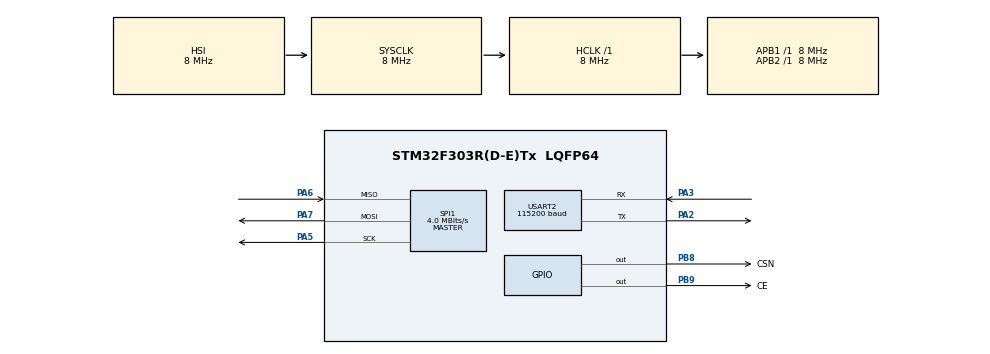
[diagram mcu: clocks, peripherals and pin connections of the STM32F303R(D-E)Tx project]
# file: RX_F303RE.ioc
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Mcu.Family=STM32F3
Mcu.Name=STM32F303R(D-E)Tx
Mcu.Package=LQFP64
NVIC.PriorityGroup=NVIC_PRIORITYGROUP_4
PA2.Mode=Asynchronous
PA2.Signal=USART2_TX
PA3.Mode=Asynchronous
PA3.Signal=USART2_RX
PA5.Mode=Full_Duplex_Master
PA5.Signal=SPI1_SCK
PA6.Mode=Full_Duplex_Master
PA6.Signal=SPI1_MISO
PA7.Mode=Full_Duplex_Master
PA7.Signal=SPI1_MOSI
PB8.GPIO_Label=CSN
PB8.Signal=GPIO_Output
PB9.GPIO_Label=CE
PB9.Signal=GPIO_Output
PF0-OSC_IN.Mode=HSE-External-Oscillator
PF0-OSC_IN.Signal=RCC_OSC_IN
PF1-OSC_OUT.Mode=HSE-External-Oscillator
PF1-OSC_OUT.Signal=RCC_OSC_OUT
ProjectManager.HeapSize=0x200
ProjectManager.StackSize=0x400
ProjectManager.TargetToolchain=STM32CubeIDE
RCC.AHBFreq_Value=8000000
RCC.APB1Freq_Value=8000000
RCC.APB2Freq_Value=8000000
RCC.CortexFreq_Value=8000000
RCC.HSE_VALUE=8000000
RCC.HSI_VALUE=8000000
RCC.LSE_VALUE=32768
RCC.PLLSourceVirtual=RCC_PLLSOURCE_HSE
RCC.SYSCLKFreq_VALUE=8000000
RCC.USBFreq_Value=16000000
SPI1.CalculateBaudRate=4.0 MBits/s
SPI1.DataSize=SPI_DATASIZE_8BIT
SPI1.Direction=SPI_DIRECTION_2LINES
SPI1.Mode=SPI_MODE_MASTER
SPI1.VirtualType=VM_MASTER
USART2.BaudRate=115200
USART2.VirtualMode-Asynchronous=VM_ASYNC
board=custom

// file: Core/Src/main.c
/* USER CODE BEGIN Header */
/**
  ******************************************************************************
  * @file           : main.c
  * @brief          : Main program body
  ******************************************************************************
  * @attention
  *
  * Copyright (c) 2023 STMicroelectronics.
  * All rights reserved.
  *
  * This software is licensed under terms that can be found in the LICENSE file
  * in the root directory of this software component.
  * If no LICENSE file comes with this software, it is provided AS-IS.
  *
  ******************************************************************************
  */
/* USER CODE END Header */
#include "main.h"

/* USER CODE BEGIN Includes */
#include "MY_NRF24.h"
/* USER CODE END Includes */

SPI_HandleTypeDef hspi1;

UART_HandleTypeDef huart2;

void SystemClock_Config(void);
static void MX_GPIO_Init(void);
static void MX_SPI1_Init(void);
static void MX_USART2_UART_Init(void);

/* USER CODE BEGIN 0 */
uint64_t RxpipeAddrs = 0x11223344AA;
uint8_t buffer[6];
char myAckPayload[32] = "Ack by STMf3!";
/* USER CODE END 0 */

int main(void)
{

  /* MCU Configuration--------------------------------------------------------*/

  /* Reset of all peripherals, Initializes the Flash interface and the Systick. */
  HAL_Init();

  /* Configure the system clock */
  SystemClock_Config();

  /* Initialize all configured peripherals */
  MX_GPIO_Init();
  MX_SPI1_Init();
  MX_USART2_UART_Init();
  /* USER CODE BEGIN 2 */
  MX_GPIO_Init();
	/* USER CODE BEGIN 2 */
	NRF24_begin(GPIOB, GPIO_PIN_8, GPIO_PIN_9, hspi1);
	nrf24_DebugUART_Init(huart2);

	NRF24_setAutoAck(false);
	NRF24_setChannel(52);
	NRF24_setPayloadSize(6);
	NRF24_openReadingPipe(1, RxpipeAddrs);
	NRF24_enableDynamicPayloads();
	//NRF24_enableAckPayload();
	NRF24_startListening();

	printRadioSettings();
  /* USER CODE END 2 */

  /* Infinite loop */
  /* USER CODE BEGIN WHILE */
  while (1)
  {
	  char myRxData[50] = "";
	  if(NRF24_available())
		{
			NRF24_read(buffer, 6);
			if(buffer[0] == 0xFF && buffer[1] == 0xFF){
				snprintf(myRxData, 32, "Coordinates not found\r\n");
			}
			else{
				snprintf(myRxData, 32, "%u %u %u \r\n", (buffer[0]<<8|buffer[1]), (buffer[2]<<8|buffer[3]), (buffer[4]<<8|buffer[5]));
			}
			//NRF24_writeAckPayload(1, myAckPayload, 32);
			HAL_UART_Transmit(&huart2, (uint8_t *)myRxData, strlen(myRxData), 10);
		}
    /* USER CODE END WHILE */

  }
}

void SystemClock_Config(void)
{
  RCC_OscInitTypeDef RCC_OscInitStruct = {0};
  RCC_ClkInitTypeDef RCC_ClkInitStruct = {0};
  RCC_PeriphCLKInitTypeDef PeriphClkInit = {0};

  /** Initializes the RCC Oscillators according to the specified parameters
  * in the RCC_OscInitTypeDef structure.
  */
  RCC_OscInitStruct.OscillatorType = RCC_OSCILLATORTYPE_HSI;
  RCC_OscInitStruct.HSIState = RCC_HSI_ON;
  RCC_OscInitStruct.HSICalibrationValue = RCC_HSICALIBRATION_DEFAULT;
  RCC_OscInitStruct.PLL.PLLState = RCC_PLL_NONE;
  if (HAL_RCC_OscConfig(&RCC_OscInitStruct) != HAL_OK)
  {
    Error_Handler();
  }

  /** Initializes the CPU, AHB and APB buses clocks
  */
  RCC_ClkInitStruct.ClockType = RCC_CLOCKTYPE_HCLK|RCC_CLOCKTYPE_SYSCLK
                              |RCC_CLOCKTYPE_PCLK1|RCC_CLOCKTYPE_PCLK2;
  RCC_ClkInitStruct.SYSCLKSource = RCC_SYSCLKSOURCE_HSI;
  RCC_ClkInitStruct.AHBCLKDivider = RCC_SYSCLK_DIV1;
  RCC_ClkInitStruct.APB1CLKDivider = RCC_HCLK_DIV1;
  RCC_ClkInitStruct.APB2CLKDivider = RCC_HCLK_DIV1;

  if (HAL_RCC_ClockConfig(&RCC_ClkInitStruct, FLASH_LATENCY_0) != HAL_OK)
  {
    Error_Handler();
  }
  PeriphClkInit.PeriphClockSelection = RCC_PERIPHCLK_USART2;
  PeriphClkInit.Usart2ClockSelection = RCC_USART2CLKSOURCE_PCLK1;
  if (HAL_RCCEx_PeriphCLKConfig(&PeriphClkInit) != HAL_OK)
  {
    Error_Handler();
  }
}

static void MX_SPI1_Init(void)
{

  /* SPI1 parameter configuration*/
  hspi1.Instance = SPI1;
  hspi1.Init.Mode = SPI_MODE_MASTER;
  hspi1.Init.Direction = SPI_DIRECTION_2LINES;
  hspi1.Init.DataSize = SPI_DATASIZE_8BIT;
  hspi1.Init.CLKPolarity = SPI_POLARITY_LOW;
  hspi1.Init.CLKPhase = SPI_PHASE_1EDGE;
  hspi1.Init.NSS = SPI_NSS_SOFT;
  hspi1.Init.BaudRatePrescaler = SPI_BAUDRATEPRESCALER_2;
  hspi1.Init.FirstBit = SPI_FIRSTBIT_MSB;
  hspi1.Init.TIMode = SPI_TIMODE_DISABLE;
  hspi1.Init.CRCCalculation = SPI_CRCCALCULATION_DISABLE;
  hspi1.Init.CRCPolynomial = 7;
  hspi1.Init.CRCLength = SPI_CRC_LENGTH_DATASIZE;
  hspi1.Init.NSSPMode = SPI_NSS_PULSE_ENABLE;
  if (HAL_SPI_Init(&hspi1) != HAL_OK)
  {
    Error_Handler();
  }

}

static void MX_USART2_UART_Init(void)
{

  huart2.Instance = USART2;
  huart2.Init.BaudRate = 115200;
  huart2.Init.WordLength = UART_WORDLENGTH_8B;
  huart2.Init.StopBits = UART_STOPBITS_1;
  huart2.Init.Parity = UART_PARITY_NONE;
  huart2.Init.Mode = UART_MODE_TX_RX;
  huart2.Init.HwFlowCtl = UART_HWCONTROL_NONE;
  huart2.Init.OverSampling = UART_OVERSAMPLING_16;
  huart2.Init.OneBitSampling = UART_ONE_BIT_SAMPLE_DISABLE;
  huart2.AdvancedInit.AdvFeatureInit = UART_ADVFEATURE_NO_INIT;
  if (HAL_UART_Init(&huart2) != HAL_OK)
  {
    Error_Handler();
  }

}

static void MX_GPIO_Init(void)
{
  GPIO_InitTypeDef GPIO_InitStruct = {0};

  /* GPIO Ports Clock Enable */
  __HAL_RCC_GPIOF_CLK_ENABLE();
  __HAL_RCC_GPIOA_CLK_ENABLE();
  __HAL_RCC_GPIOB_CLK_ENABLE();

  /*Configure GPIO pin Output Level */
  HAL_GPIO_WritePin(GPIOB, CSN_Pin|CE_Pin, GPIO_PIN_RESET);

  /*Configure GPIO pins : CSN_Pin CE_Pin */
  GPIO_InitStruct.Pin = CSN_Pin|CE_Pin;
  GPIO_InitStruct.Mode = GPIO_MODE_OUTPUT_PP;
  GPIO_InitStruct.Pull = GPIO_NOPULL;
  GPIO_InitStruct.Speed = GPIO_SPEED_FREQ_LOW;
  HAL_GPIO_Init(GPIOB, &GPIO_InitStruct);

}

void Error_Handler(void)
{
  __disable_irq();
  while (1)
  {
  }
}
